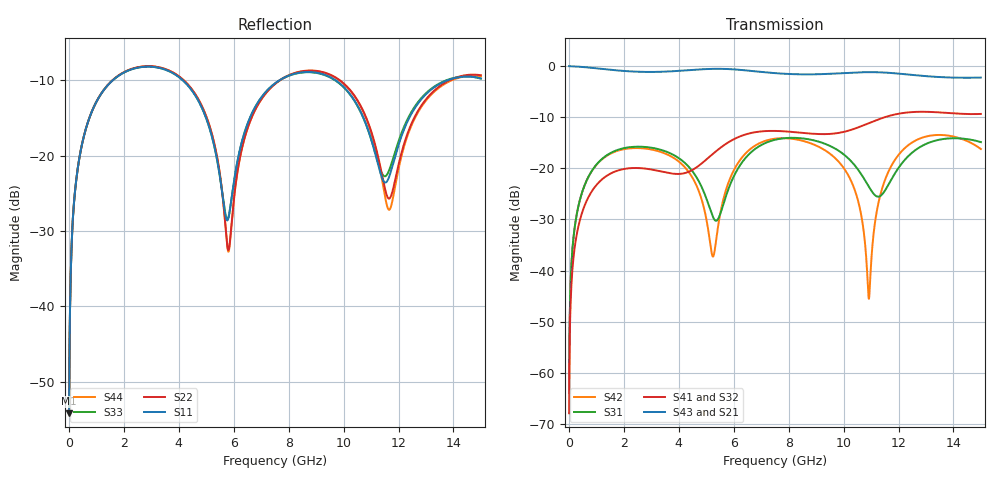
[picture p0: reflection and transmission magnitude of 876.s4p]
! Created with skrf 1.8.0 (http://scikit-rf.org).
# GHz S RI R 50.0
!freq ReS11 ImS11 ReS12 ImS12 ReS13 ImS13
! ReS14 ImS14
! ReS21 ImS21 ReS22 ImS22 ReS23 ImS23
! ReS24 ImS24
! ReS31 ImS31 ReS32 ImS32 ReS33 ImS33
! ReS34 ImS34
! ReS41 ImS41 ReS42 ImS42 ReS43 ImS43
! ReS44 ImS44
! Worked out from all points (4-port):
!   2499 points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, 5 MHz to 15 GHz, reference 50 ohm
!   strongest paths, dB at 5 MHz, 3.476 GHz, 7.19 GHz, 11.1 GHz, 15 GHz:
!     S43: 0.0, -1.1, -1.2, -1.2, -2.2
!     S21: 0.0, -1.1, -1.2, -1.2, -2.3
!     S41: -67.9, -20.8, -12.7, -10.8, -9.4
!     S32: -67.9, -20.8, -12.7, -10.8, -9.4
!     S31: -63.9, -16.6, -15.0, -25.0, -14.9
!     S42: -63.9, -17.1, -14.6, -32.5, -16.2
!   lowest |S11| = -54.2 dB at 5 MHz (marker M1), VSWR 1.00, Z = 50.2 + j0.118 ohm
!   |S11| at or under -10 dB: start of sweep to 1.587 GHz; 4.152 GHz to 7.655 GHz (3.503 GHz wide, 59.3 % of centre); 9.716 GHz to 13.77 GHz (4.052 GHz wide, 34.5 % of centre)
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0.005  0.00155 0.00118  0.9984 -0.00302  7.83e-05 0.000632  -7.59e-05 -0.000393
       0.9984 -0.00302  0.00155 0.00118  -7.59e-05 -0.000393  7.82e-05 0.000632
       7.83e-05 0.000632  -7.59e-05 -0.000393  0.00155 0.00118  0.9984 -0.00302
       -7.59e-05 -0.000393  7.82e-05 0.000632  0.9984 -0.00302  0.00155 0.00118
0.3126303  0.0219 0.0778  0.9701 -0.1884  0.0105 0.0377  -0.00847 -0.0233
           0.9701 -0.1884  0.022 0.0778  -0.00847 -0.0233  0.00993 0.0378
           0.0105 0.0377  -0.00847 -0.0233  0.0219 0.0778  0.9701 -0.1884
           -0.00847 -0.0233  0.00993 0.0378  0.9701 -0.1884  0.022 0.0778
1.519383  0.2455 0.1859  0.598 -0.6992  0.1254 0.0653  -0.0878 -0.0142
          0.598 -0.6992  0.2477 0.1847  -0.0878 -0.0142  0.1184 0.0737
          0.1254 0.0653  -0.0878 -0.0142  0.2455 0.1859  0.598 -0.6992
          -0.0878 -0.0142  0.1184 0.0737  0.598 -0.6992  0.2477 0.1847
5.621092  0.0385 -0.0316  -0.927 -0.1508  -0.0256 0.0363  -0.0236 0.1649
          -0.927 -0.1508  0.0254 -0.0416  -0.024 0.1649  0.0159 0.047
          -0.0256 0.0363  -0.024 0.1649  0.039 -0.0317  -0.927 -0.151
          -0.0236 0.1649  0.0159 0.047  -0.927 -0.151  0.0249 -0.0418
9.07253  0.3508 -0.0515  0.0391 0.8309  0.144 -0.1129  0.2022 -0.0773
         0.0391 0.8309  0.3605 -0.0564  0.2024 -0.0765  0.1482 -0.0691
         0.144 -0.1129  0.2024 -0.0765  0.3495 -0.0503  0.0388 0.8316
         0.2022 -0.0773  0.1482 -0.0691  0.0388 0.8316  0.3585 -0.0571
10.9233  0.1019 -0.1002  0.7473 0.4501  -0.051 -0.0417  0.1352 -0.2417
         0.7473 0.4501  0.0984 -0.1272  0.1355 -0.2414  0.00519 0.001
         -0.051 -0.0417  0.1355 -0.2414  0.1055 -0.096  0.7475 0.4503
         0.1352 -0.2417  0.00519 0.001  0.7475 0.4503  0.0924 -0.128
15  0.3234 -0.0428  -0.00786 -0.7707  0.0977 -0.1516  -0.3352 0.0593
    -0.00786 -0.7707  0.3386 -0.051  -0.3334 0.0548  0.1085 -0.1099
    0.0977 -0.1516  -0.3334 0.0548  0.3198 -0.0573  -0.00643 -0.7721
    -0.3352 0.0593  0.1085 -0.1099  -0.00643 -0.7721  0.3348 -0.0348
